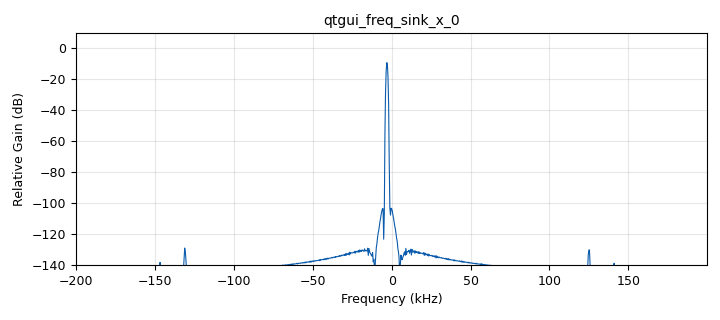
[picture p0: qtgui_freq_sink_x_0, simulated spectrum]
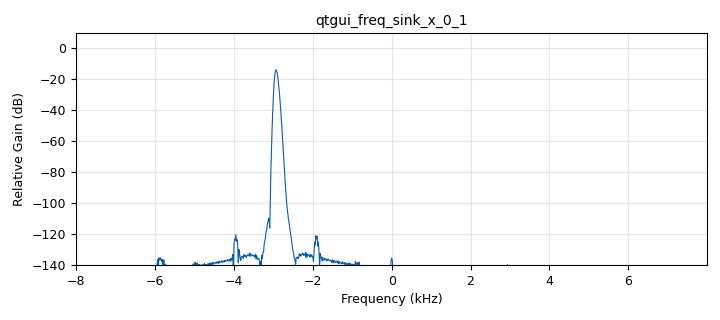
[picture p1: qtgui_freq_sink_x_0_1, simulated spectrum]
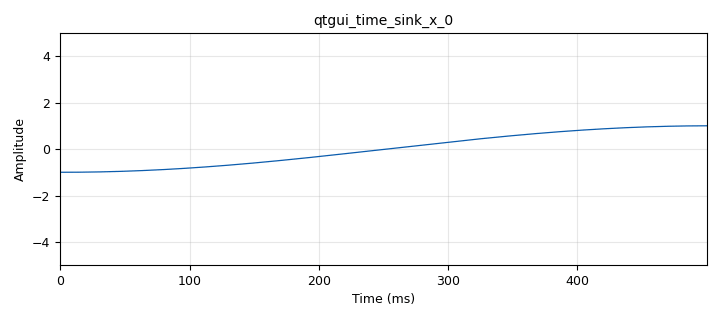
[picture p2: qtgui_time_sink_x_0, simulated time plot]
options:
  parameters:
    author: Wojciech Kaczmarski SP5WWP
    copyright: M17 Project
    generate_options: qt_gui
    id: openht_rx_fm
    output_language: python
    title: OpenHT FM RX path sim
  states: {}

blocks:
- name: N1
  id: variable
  parameters:
    value: '405'
  states: {}
- name: N2
  id: variable
  parameters:
    value: '205'
  states: {}
- name: N3
  id: variable
  parameters:
    value: '100'
  states: {}
- name: decim_1
  id: variable
  parameters:
    value: '5'
  states: {}
- name: decim_2
  id: variable
  parameters:
    value: '5'
  states: {}
- name: decim_3
  id: variable
  parameters:
    value: '1'
  states: {}
- name: dev
  id: variable
  parameters:
    value: 3e3
  states: {}
- name: samp_rate
  id: variable
  parameters:
    value: 400e3
  states: {}
- name: analog_frequency_modulator_fc_0
  id: analog_frequency_modulator_fc
  parameters:
    sensitivity: (2.0*math.pi*dev)/samp_rate
  states: {}
- name: analog_quadrature_demod_cf_0
  id: analog_quadrature_demod_cf
  parameters:
    gain: (samp_rate/decim_1/decim_2/decim_3)/(2*math.pi*dev)
  states: {}
- name: analog_sig_source_x_0
  id: analog_sig_source_x
  parameters:
    amp: '1'
    freq: '1'
    offset: '0'
    phase: '0'
    samp_rate: samp_rate
    type: float
    waveform: analog.GR_COS_WAVE
  states: {}
- name: fir_filter_xxx_0
  id: fir_filter_xxx
  parameters:
    decim: decim_1
    taps: scisig.remez(N1, [0, 6.25e3, 6.5e3, samp_rate/2], [1.0, 0], fs=samp_rate)
    type: ccc
  states: {}
- name: fir_filter_xxx_0_0
  id: fir_filter_xxx
  parameters:
    decim: decim_2
    taps: scisig.remez(N2, [0, 6.25e3, 6.5e3, samp_rate/decim_1/2], [1.0, 0], fs=samp_rate/decim_1)
    type: ccc
  states: {}
- name: fir_filter_xxx_0_0_0
  id: fir_filter_xxx
  parameters:
    decim: decim_3
    taps: scisig.remez(N2, [0, 6.25e3, 6.5e3, samp_rate/decim_1/decim_2/2], [1.0, 0], fs=samp_rate/decim_1/decim_2)
    type: ccc
  states: {state: bypassed}
- name: import_0
  id: import
  parameters:
    imports: import math
  states: {}
- name: import_0_0
  id: import
  parameters:
    imports: from scipy import signal as scisig
  states: {}
- name: qtgui_freq_sink_x_0
  id: qtgui_freq_sink_x
  parameters:
    bw: samp_rate
    fc: '0'
    fftsize: '1024'
    type: complex
    update_time: '0.05'
  states: {}
- name: qtgui_freq_sink_x_0_1
  id: qtgui_freq_sink_x
  parameters:
    bw: samp_rate/decim_1/decim_2/decim_3
    fc: '0'
    fftsize: '1024'
    type: complex
    update_time: '0.05'
  states: {}
- name: qtgui_time_sink_x_0
  id: qtgui_time_sink_x
  parameters:
    size: '8000'
    srate: samp_rate/decim_1/decim_2/decim_3
    type: float
    ymax: '5'
    ymin: '-5'
  states: {}

connections:
- [analog_frequency_modulator_fc_0, '0', fir_filter_xxx_0, '0']
- [analog_frequency_modulator_fc_0, '0', qtgui_freq_sink_x_0, '0']
- [analog_quadrature_demod_cf_0, '0', qtgui_time_sink_x_0, '0']
- [analog_sig_source_x_0, '0', analog_frequency_modulator_fc_0, '0']
- [fir_filter_xxx_0, '0', fir_filter_xxx_0_0, '0']
- [fir_filter_xxx_0_0, '0', fir_filter_xxx_0_0_0, '0']
- [fir_filter_xxx_0_0_0, '0', analog_quadrature_demod_cf_0, '0']
- [fir_filter_xxx_0_0_0, '0', qtgui_freq_sink_x_0_1, '0']

metadata:
  file_format: 1
  grc_version: 3.10.7.0
